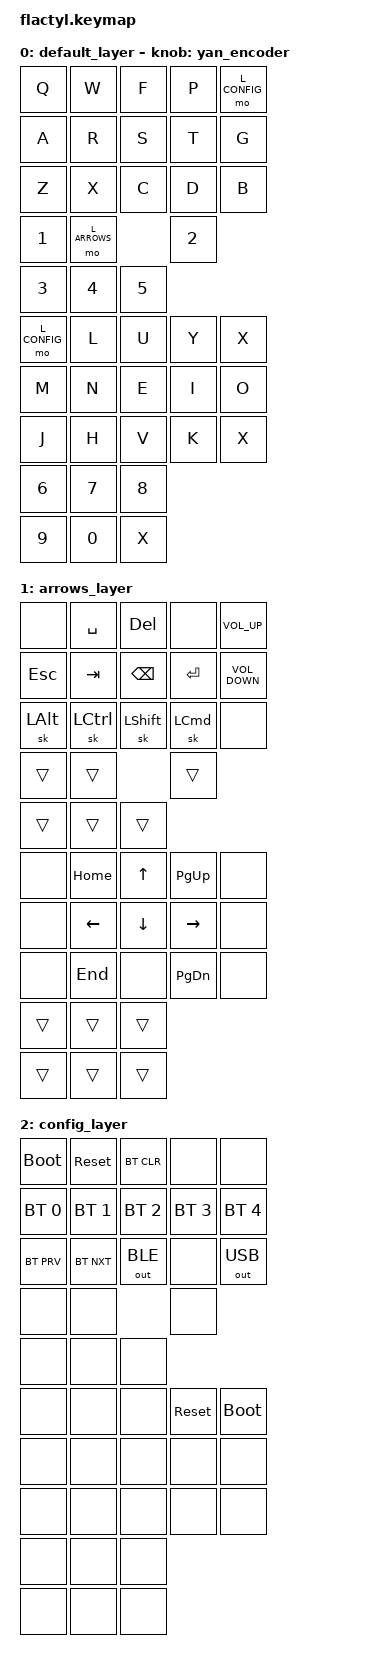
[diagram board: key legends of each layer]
/*
 * Copyright (c) 2020 The ZMK Contributors
 *
 * SPDX-License-Identifier: MIT
 */

#include <behaviors.dtsi>
#include <dt-bindings/zmk/keys.h>
#include <dt-bindings/zmk/bt.h>
#include <dt-bindings/zmk/outputs.h>

#define L_DEFAULT 0
#define L_ARROWS 1
#define L_CONFIG 2


/* sticky keys timeout */
&sk {
    release-after-ms = <3000>;
};
/ {
    behaviors {
        yan_encoder: yan_encoder {
            compatible = "zmk,behavior-sensor-rotate";
            label = "YAN_ENCODER";
            #sensor-binding-cells = <0>;
            bindings = <&kp K_VOLUME_DOWN>, <&kp K_VOLUME_UP>;
        };
    };
    keymap {
        compatible = "zmk,keymap";
        
        /* default 0 */
        default_layer {
            bindings = <

/*  Left half */
&kp Q	&kp	W	&kp F	&kp P   &mo L_CONFIG
&kp A &kp R &kp S &kp T &kp G
&kp Z	&kp X	&kp C &kp D &kp B

/* Left thumb */
&kp N1	&mo L_ARROWS	&kp N2
&kp N3	&kp N4	&kp N5

/* Right half */
&mo L_CONFIG &kp L	&kp	U	&kp Y	&kp X
&kp M &kp N &kp E &kp I &kp O
&kp J &kp H	&kp V &kp K &kp X

/* Right thumb */
&kp N6	&kp N7	&kp N8
&kp N9	&kp N0	&kp X
            >;
 sensor-bindings = <&yan_encoder>;            
        };
    
        /* arrows 1 */
        arrows_layer {
            bindings = <
&none	&kp SPACE	&kp DELETE	&none	&kp K_VOLUME_UP
&kp ESCAPE	&kp TAB	&kp BACKSPACE	&kp RETURN	&kp K_VOLUME_DOWN
&sk LEFT_ALT	&sk LEFT_CONTROL	&sk LEFT_SHIFT	&sk LEFT_COMMAND	&none
&trans	&trans	&trans
&trans	&trans	&trans
&none	&kp HOME	&kp UP_ARROW	&kp PAGE_UP	&none
&none	&kp LEFT_ARROW	&kp DOWN_ARROW	&kp RIGHT_ARROW	&none
&none	&kp END	&none	&kp PAGE_DOWN	&none
&trans	&trans	&trans
&trans	&trans	&trans
            >;            
        };

        /* config 2 */
        config_layer {
            bindings = <

&bootloader	&sys_reset	&bt BT_CLR	&none	&none
&bt BT_SEL 0	&bt BT_SEL 1	&bt BT_SEL 2	&bt BT_SEL 3	&bt BT_SEL 4
&bt BT_PRV	&bt BT_NXT	&out OUT_BLE	&none	&out OUT_USB

&none	&none	&none
&none	&none	&none

&none	&none	&none	&sys_reset	&bootloader
&none	&none	&none	&none	&none
&none	&none	&none	&none	&none

&none	&none	&none
&none	&none	&none
            >;            
        };
    
    };
};
